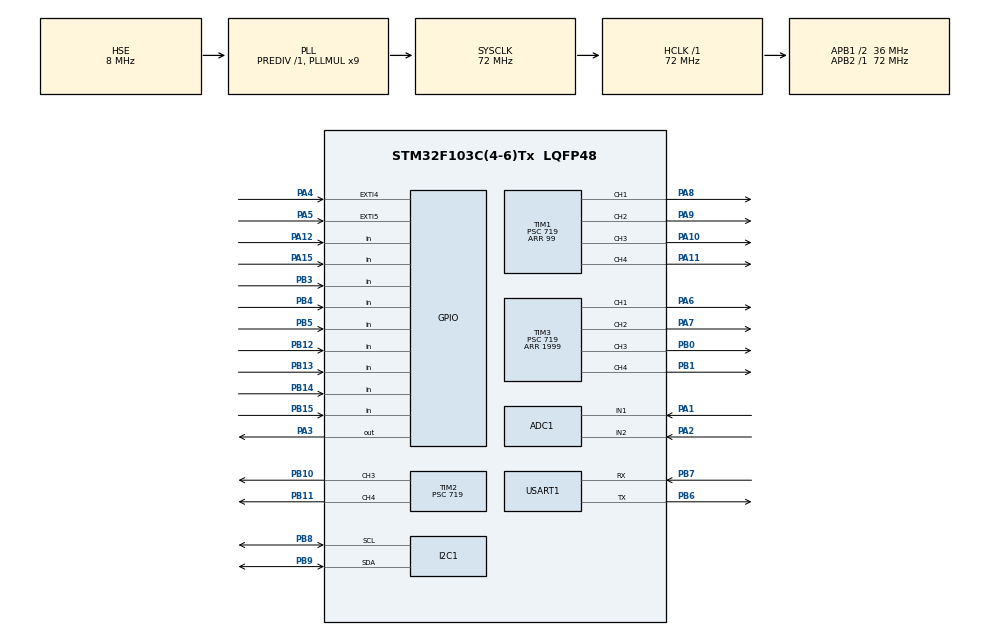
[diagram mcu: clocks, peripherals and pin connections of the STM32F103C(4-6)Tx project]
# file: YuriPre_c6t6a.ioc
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ADC1.Channel-0\#ChannelRegularConversion=ADC_CHANNEL_1
ADC1.NbrOfConversionFlag=1
ADC1.Rank-0\#ChannelRegularConversion=1
ADC1.SamplingTime-0\#ChannelRegularConversion=ADC_SAMPLETIME_1CYCLE_5
ADC1.master=1
Dma.Request0=USART1_RX
Dma.Request1=USART1_TX
Dma.USART1_RX.0.Direction=DMA_PERIPH_TO_MEMORY
Dma.USART1_RX.0.Instance=DMA1_Channel5
Dma.USART1_RX.0.MemDataAlignment=DMA_MDATAALIGN_BYTE
Dma.USART1_RX.0.MemInc=DMA_MINC_ENABLE
Dma.USART1_RX.0.Mode=DMA_NORMAL
Dma.USART1_RX.0.PeriphDataAlignment=DMA_PDATAALIGN_BYTE
Dma.USART1_RX.0.PeriphInc=DMA_PINC_DISABLE
Dma.USART1_RX.0.Priority=DMA_PRIORITY_LOW
Dma.USART1_TX.1.Direction=DMA_MEMORY_TO_PERIPH
Dma.USART1_TX.1.Instance=DMA1_Channel4
Dma.USART1_TX.1.MemDataAlignment=DMA_MDATAALIGN_BYTE
Dma.USART1_TX.1.MemInc=DMA_MINC_ENABLE
Dma.USART1_TX.1.Mode=DMA_NORMAL
Dma.USART1_TX.1.PeriphDataAlignment=DMA_PDATAALIGN_BYTE
Dma.USART1_TX.1.PeriphInc=DMA_PINC_DISABLE
Dma.USART1_TX.1.Priority=DMA_PRIORITY_LOW
Mcu.Family=STM32F1
Mcu.Name=STM32F103C(4-6)Tx
Mcu.Package=LQFP48
NVIC.DMA1_Channel4_IRQn=true\:0\:0\:false\:false\:true\:false\:true\:true
NVIC.DMA1_Channel5_IRQn=true\:0\:0\:false\:false\:true\:false\:true\:true
NVIC.EXTI4_IRQn=true\:0\:0\:false\:false\:true\:true\:true\:true
NVIC.EXTI9_5_IRQn=true\:0\:0\:false\:false\:true\:true\:true\:true
NVIC.PriorityGroup=NVIC_PRIORITYGROUP_4
NVIC.TIM1_UP_IRQn=true\:0\:0\:false\:false\:true\:true\:true\:true
NVIC.USART1_IRQn=true\:0\:0\:false\:false\:true\:true\:true\:true
PA1.Signal=ADCx_IN1
PA10.Signal=S_TIM1_CH3
PA11.Signal=S_TIM1_CH4
PA12.GPIO_PuPd=GPIO_PULLUP
PA12.Signal=GPIO_Input
PA13.Mode=Serial_Wire
PA13.Signal=SYS_JTMS-SWDIO
PA14.Mode=Serial_Wire
PA14.Signal=SYS_JTCK-SWCLK
PA15.GPIO_PuPd=GPIO_PULLUP
PA15.Signal=GPIO_Input
PA2.Signal=ADCx_IN2
PA3.GPIO_Speed=GPIO_SPEED_FREQ_MEDIUM
PA3.Signal=GPIO_Output
PA4.GPIO_PuPd=GPIO_PULLUP
PA4.Signal=GPXTI4
PA5.GPIO_PuPd=GPIO_PULLUP
PA5.Signal=GPXTI5
PA6.Signal=S_TIM3_CH1
PA7.Signal=S_TIM3_CH2
PA8.Signal=S_TIM1_CH1
PA9.Signal=S_TIM1_CH2
PB0.Signal=S_TIM3_CH3
PB1.Signal=S_TIM3_CH4
PB10.Signal=S_TIM2_CH3
PB11.Signal=S_TIM2_CH4
PB12.GPIO_PuPd=GPIO_PULLUP
PB12.Signal=GPIO_Input
PB13.GPIO_PuPd=GPIO_PULLUP
PB13.Signal=GPIO_Input
PB14.GPIO_PuPd=GPIO_PULLUP
PB14.Signal=GPIO_Input
PB15.GPIO_PuPd=GPIO_PULLUP
PB15.Signal=GPIO_Input
PB3.GPIO_PuPd=GPIO_PULLUP
PB3.Signal=GPIO_Input
PB4.GPIO_PuPd=GPIO_PULLUP
PB4.Signal=GPIO_Input
PB5.GPIO_PuPd=GPIO_PULLUP
PB5.Signal=GPIO_Input
PB6.Mode=Asynchronous
PB6.Signal=USART1_TX
PB7.Mode=Asynchronous
PB7.Signal=USART1_RX
PB8.Mode=I2C
PB8.Signal=I2C1_SCL
PB9.Mode=I2C
PB9.Signal=I2C1_SDA
PD0-OSC_IN.Mode=HSE-External-Oscillator
PD0-OSC_IN.Signal=RCC_OSC_IN
PD1-OSC_OUT.Mode=HSE-External-Oscillator
PD1-OSC_OUT.Signal=RCC_OSC_OUT
ProjectManager.HeapSize=0x200
ProjectManager.StackSize=0x400
ProjectManager.TargetToolchain=MDK-ARM V5.32
RCC.ADCPresc=RCC_ADCPCLK2_DIV6
RCC.AHBFreq_Value=72000000
RCC.APB1CLKDivider=RCC_HCLK_DIV2
RCC.APB1Freq_Value=36000000
RCC.APB1TimFreq_Value=72000000
RCC.APB2Freq_Value=72000000
RCC.APB2TimFreq_Value=72000000
RCC.HCLKFreq_Value=72000000
RCC.PLLMUL=RCC_PLL_MUL9
RCC.PLLSourceVirtual=RCC_PLLSOURCE_HSE
RCC.SYSCLKFreq_VALUE=72000000
RCC.SYSCLKSource=RCC_SYSCLKSOURCE_PLLCLK
RCC.USBFreq_Value=72000000
SH.ADCx_IN1.0=ADC1_IN1,IN1
SH.ADCx_IN2.0=ADC1_IN2,IN2
SH.S_TIM1_CH1.0=TIM1_CH1,PWM Generation1 CH1
SH.S_TIM1_CH2.0=TIM1_CH2,PWM Generation2 CH2
SH.S_TIM1_CH3.0=TIM1_CH3,PWM Generation3 CH3
SH.S_TIM1_CH4.0=TIM1_CH4,Output Compare4 CH4
SH.S_TIM2_CH3.0=TIM2_CH3,PWM Generation3 CH3
SH.S_TIM2_CH4.0=TIM2_CH4,PWM Generation4 CH4
SH.S_TIM3_CH1.0=TIM3_CH1,PWM Generation1 CH1
SH.S_TIM3_CH2.0=TIM3_CH2,PWM Generation2 CH2
SH.S_TIM3_CH3.0=TIM3_CH3,PWM Generation3 CH3
SH.S_TIM3_CH4.0=TIM3_CH4,PWM Generation4 CH4
TIM1.AutoReloadPreload=TIM_AUTORELOAD_PRELOAD_ENABLE
TIM1.Channel-Output\ Compare4\ CH4=TIM_CHANNEL_4
TIM1.Channel-PWM\ Generation1\ CH1=TIM_CHANNEL_1
TIM1.Channel-PWM\ Generation2\ CH2=TIM_CHANNEL_2
TIM1.Channel-PWM\ Generation3\ CH3=TIM_CHANNEL_3
TIM1.Period=99
TIM1.Prescaler=719
TIM2.AutoReloadPreload=TIM_AUTORELOAD_PRELOAD_ENABLE
TIM2.Channel-PWM\ Generation3\ CH3=TIM_CHANNEL_3
TIM2.Channel-PWM\ Generation4\ CH4=TIM_CHANNEL_4
TIM2.Period=1999
TIM2.Prescaler=719
TIM3.AutoReloadPreload=TIM_AUTORELOAD_PRELOAD_ENABLE
TIM3.Channel-PWM\ Generation1\ CH1=TIM_CHANNEL_1
TIM3.Channel-PWM\ Generation2\ CH2=TIM_CHANNEL_2
TIM3.Channel-PWM\ Generation3\ CH3=TIM_CHANNEL_3
TIM3.Channel-PWM\ Generation4\ CH4=TIM_CHANNEL_4
TIM3.Period=1999
TIM3.Prescaler=719
USART1.VirtualMode=VM_ASYNC
VP_TIM1_VS_ClockSourceINT.Mode=Internal
board=custom

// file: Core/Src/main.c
/* USER CODE BEGIN Header */
/**
 ******************************************************************************
 * @file           : main.c
 * @brief          : Main program body
 ******************************************************************************
 * @attention
 *
 * Copyright (c) 2022 STMicroelectronics.
 * All rights reserved.
 *
 * This software is licensed under terms that can be found in the LICENSE file
 * in the root directory of this software component.
 * If no LICENSE file comes with this software, it is provided AS-IS.
 *
 ******************************************************************************
 */
/* USER CODE END Header */
#include "main.h"
#include "adc.h"
#include "dma.h"
#include "i2c.h"
#include "tim.h"
#include "usart.h"
#include "gpio.h"

/* USER CODE BEGIN Includes */
#include "yuri_sensor.h"
/* USER CODE END Includes */

/* USER CODE BEGIN PV */
uint8_t track = 0x00; //循迹传感器数据
uint8_t track_last = 0x00;

volatile uint8_t rx_len;        //接收一帧数据的长度
volatile uint8_t recv_end_flag; //一帧数据接收完成标志
uint8_t rx_buffer[16];          //接收数据缓存数组

uint8_t track_flag;
uint8_t servo_data[6];
/* USER CODE END PV */

void SystemClock_Config(void);

int main(void)
{

  /* MCU Configuration--------------------------------------------------------*/

  /* Reset of all peripherals, Initializes the Flash interface and the Systick. */
  HAL_Init();

  /* Configure the system clock */
  SystemClock_Config();

  /* Initialize all configured peripherals */
  MX_GPIO_Init();
  MX_ADC1_Init();
  MX_I2C1_Init();
  MX_TIM1_Init();
  MX_TIM2_Init();
  MX_DMA_Init();
  MX_TIM3_Init();
  MX_USART1_UART_Init();
  /* USER CODE BEGIN 2 */
  HAL_TIM_Base_Start(&htim1);
  /* USER CODE END 2 */

  /* Infinite loop */
  /* USER CODE BEGIN WHILE */
  while (1)
  {
    if (recv_end_flag == 1) //接收完成标志
    {
      // HAL_UART_Transmit_DMA(&huart1, rx_buffer, rx_len);
      rx_len = 0;        //清除计数
      recv_end_flag = 0; //清除接收结束标志
      track_flag = rx_buffer[0];
      for (uint8_t i = 0; i < 6; i++)
      {
        rx_buffer[i + 1] = servo_data[i]; //清接收缓
      }
      for (uint8_t i = 0; i < rx_len; i++)
      {
        rx_buffer[i] = 0; //清接收缓
      }
    }
    HAL_UART_Receive_DMA(&huart1, rx_buffer, BUFFER_SIZE); //重新打开DMA接收

#ifdef USE_AUTO_TRACK

    if (track_flag)
    {
      auto_track();
    }
    else
    {
      motor_stop();
    }

#endif
    /* USER CODE END WHILE */

  }
}

void SystemClock_Config(void)
{
  RCC_OscInitTypeDef RCC_OscInitStruct = {0};
  RCC_ClkInitTypeDef RCC_ClkInitStruct = {0};
  RCC_PeriphCLKInitTypeDef PeriphClkInit = {0};

  /** Initializes the RCC Oscillators according to the specified parameters
   * in the RCC_OscInitTypeDef structure.
   */
  RCC_OscInitStruct.OscillatorType = RCC_OSCILLATORTYPE_HSE;
  RCC_OscInitStruct.HSEState = RCC_HSE_ON;
  RCC_OscInitStruct.HSEPredivValue = RCC_HSE_PREDIV_DIV1;
  RCC_OscInitStruct.HSIState = RCC_HSI_ON;
  RCC_OscInitStruct.PLL.PLLState = RCC_PLL_ON;
  RCC_OscInitStruct.PLL.PLLSource = RCC_PLLSOURCE_HSE;
  RCC_OscInitStruct.PLL.PLLMUL = RCC_PLL_MUL9;
  if (HAL_RCC_OscConfig(&RCC_OscInitStruct) != HAL_OK)
  {
    Error_Handler();
  }

  /** Initializes the CPU, AHB and APB buses clocks
   */
  RCC_ClkInitStruct.ClockType = RCC_CLOCKTYPE_HCLK | RCC_CLOCKTYPE_SYSCLK | RCC_CLOCKTYPE_PCLK1 | RCC_CLOCKTYPE_PCLK2;
  RCC_ClkInitStruct.SYSCLKSource = RCC_SYSCLKSOURCE_PLLCLK;
  RCC_ClkInitStruct.AHBCLKDivider = RCC_SYSCLK_DIV1;
  RCC_ClkInitStruct.APB1CLKDivider = RCC_HCLK_DIV2;
  RCC_ClkInitStruct.APB2CLKDivider = RCC_HCLK_DIV1;

  if (HAL_RCC_ClockConfig(&RCC_ClkInitStruct, FLASH_LATENCY_2) != HAL_OK)
  {
    Error_Handler();
  }
  PeriphClkInit.PeriphClockSelection = RCC_PERIPHCLK_ADC;
  PeriphClkInit.AdcClockSelection = RCC_ADCPCLK2_DIV6;
  if (HAL_RCCEx_PeriphCLKConfig(&PeriphClkInit) != HAL_OK)
  {
    Error_Handler();
  }
}

void Error_Handler(void)
{
  __disable_irq();
  while (1)
  {
  }
}
